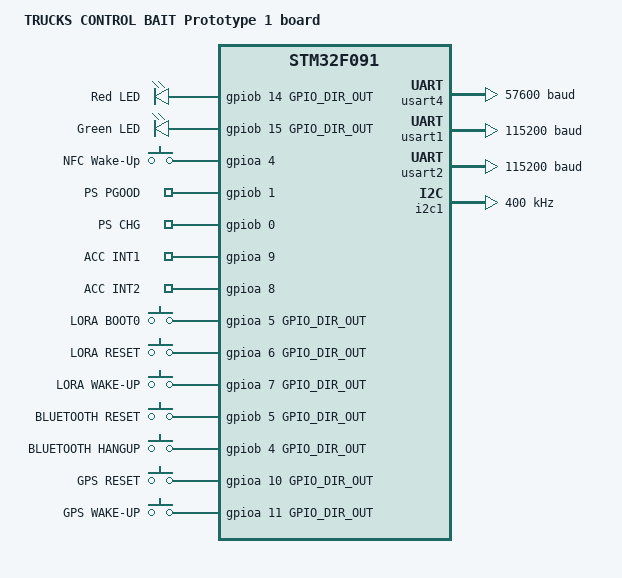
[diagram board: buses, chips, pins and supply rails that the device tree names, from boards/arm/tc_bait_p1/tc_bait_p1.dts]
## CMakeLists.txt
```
# SPDX-License-Identifier: Apache-2.0

cmake_minimum_required(VERSION 3.13.1)

set(BOARD_ROOT ${CMAKE_SOURCE_DIR})

include($ENV{ZEPHYR_BASE}/cmake/app/boilerplate.cmake NO_POLICY_SCOPE)
project(Bait)

list(APPEND HEADERS
    "${PROJECT_BINARY_DIR}/include/generated"
    "${PROJECT_BINARY_DIR}/zephyr/include/generated"
    "${PROJECT_SOURCE_DIR}/include"
    "${PROJECT_SOURCE_DIR}/include/st"
    "${PROJECT_SOURCE_DIR}/boards/arm/tc_bait_p2/support/bait"
    )

list(APPEND SOURCES
    "${PROJECT_SOURCE_DIR}/src/main.c"
    "${PROJECT_SOURCE_DIR}/src/uart_driver.c"
    "${PROJECT_SOURCE_DIR}/boards/arm/tc_bait_p2/support/bait/Src/usart.c"
    )

include_directories(${HEADERS})
target_sources(app PRIVATE ${SOURCES})
```

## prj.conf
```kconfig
# Enable PRINTK 
CONFIG_PRINTK=y
CONFIG_STDOUT_CONSOLE=y
CONFIG_UART_CONSOLE=y

# Enable SHELL
CONFIG_SHELL=n

# Enable SERIAL
CONFIG_SERIAL=y
CONFIG_SERIAL_HAS_DRIVER=y
CONFIG_SERIAL_SUPPORT_INTERRUPT=y
CONFIG_UART_STM32=y
CONFIG_UART_INTERRUPT_DRIVEN=y

# Enable COUNTER
CONFIG_COUNTER=y

CONFIG_MAIN_THREAD_PRIORITY=3
```

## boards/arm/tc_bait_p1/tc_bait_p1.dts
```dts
/*
 * Copyright (c) 2018 Trucks Control
 *
 */

/dts-v1/;
#include <st/f0/stm32f091Xc.dtsi>

/ {
	soc {
		usart3: serial@40004800 {
			compatible = "st,stm32-usart", "st,stm32-uart";
			reg = <0x40004800 0x400>;
			clocks = <&rcc STM32_CLOCK_BUS_APB1 0x00040000>;
			interrupts = <29 0>;
			status = "disabled";
			label = "UART_3";
		};
		usart4: serial@40004C00 {
			compatible = "st,stm32-usart", "st,stm32-uart";
			reg = <0x40004C00 0x400>;
			clocks = <&rcc STM32_CLOCK_BUS_APB1 0x00080000>;
			interrupts = <29 0>;
			status = "disabled";
			label = "UART_4";
		};
		pinctrl: pin-controller@48000000 {
			usart3_pins_a: usart3_a {
				rx_tx {
					rx = <STM32_PIN_PB11 (STM32_PINMUX_ALT_FUNC_4 | STM32_PUPDR_NO_PULL)>;
					tx = <STM32_PIN_PB10 (STM32_PINMUX_ALT_FUNC_4 | STM32_PUSHPULL_PULLUP)>;
				};
			};
			usart4_pins_a: usart4_a {
				rx_tx {
					rx = <STM32_PIN_PA1 (STM32_PINMUX_ALT_FUNC_4 | STM32_PUPDR_NO_PULL)>;
					tx = <STM32_PIN_PA0 (STM32_PINMUX_ALT_FUNC_4 | STM32_PUSHPULL_PULLUP)>;
				};
			};
		};
	};
};

/ {
	model = "TRUCKS CONTROL BAIT Prototype 1 board";
	compatible = "st,stm32f091";

	chosen {
		zephyr,console = &usart2;
		zephyr,shell-uart = &usart2;
		zephyr,sram = &sram0;
		zephyr,flash = &flash0;
	};

	leds {
		compatible = "gpio-leds";
		red_led: led_1 {
			gpios = <&gpiob 14 GPIO_DIR_OUT>;
			label = "Red LED";
		};
		green_led: led_2 {
			gpios = <&gpiob 15 GPIO_DIR_OUT>;
			label = "Green LED";
		};
	};

	gpio_keys {
		compatible = "gpio-keys";
		// Entradas - Inicio
		nfc_gpo: nfc1 {
			label = "NFC Wake-Up";
			gpios = <&gpioa 4 (GPIO_DIR_IN | GPIO_INT | GPIO_PUD_PULL_UP | GPIO_INT_EDGE | GPIO_INT_DOUBLE_EDGE | GPIO_INT_DEBOUNCE)>;
		};
		ps_pgood: ps1 {
			label = "PS PGOOD";
			gpios = <&gpiob 1 (GPIO_DIR_IN | GPIO_INT | GPIO_PUD_PULL_UP | GPIO_INT_EDGE | GPIO_INT_DOUBLE_EDGE | GPIO_INT_DEBOUNCE)>;
		};
		ps_chg: ps2 {
			label = "PS CHG";
			gpios = <&gpiob 0 (GPIO_DIR_IN | GPIO_INT | GPIO_PUD_PULL_UP | GPIO_INT_EDGE | GPIO_INT_DOUBLE_EDGE | GPIO_INT_DEBOUNCE)>;
		};
		acc_int1: acc1 {
			label = "ACC INT1";
			gpios = <&gpioa 9 (GPIO_DIR_IN | GPIO_INT | GPIO_PUD_PULL_UP | GPIO_INT_EDGE | GPIO_INT_DOUBLE_EDGE | GPIO_INT_DEBOUNCE)>;
		};
		acc_int2: acc2 {
			label = "ACC INT2";
			gpios = <&gpioa 8 (GPIO_DIR_IN | GPIO_INT | GPIO_PUD_PULL_UP | GPIO_INT_EDGE | GPIO_INT_DOUBLE_EDGE | GPIO_INT_DEBOUNCE)>;
		};
		// Entradas - Fim
		// Saidas - Inicio
		lora_boot0: lora1 {
			label = "LORA BOOT0";
			gpios = <&gpioa 5 GPIO_DIR_OUT>;
		};
		lora_reset: lora2 {
			label = "LORA RESET";
			gpios = <&gpioa 6 GPIO_DIR_OUT>;
		};
		lora_wkup1: lora3 {
			label = "LORA WAKE-UP";
			gpios = <&gpioa 7 GPIO_DIR_OUT>;
		};
		bt_reset: bt1 {
			label = "BLUETOOTH RESET";
			gpios = <&gpiob 5 GPIO_DIR_OUT>;
		};
		bt_hangup: bt2 {
			label = "BLUETOOTH HANGUP";
			gpios = <&gpiob 4 GPIO_DIR_OUT>;
		};
		gps_reset: gps1 {
			label = "GPS RESET";
			gpios = <&gpioa 10 GPIO_DIR_OUT>;
		};
		gps_wakeup: gps2 {
			label = "GPS WAKE-UP";
			gpios = <&gpioa 11 GPIO_DIR_OUT>;
		};
		// Saidas - Fim
	};

	aliases {
		led-red = &red_led;
		led-green = &green_led;
		nfc-gpo = &nfc_gpo;
		ps-pgood = &ps_pgood;
		ps-chg = &ps_chg;
		acc-int1 = &acc_int1;
		acc-int2 = &acc_int2;
		lora-boot0 = &lora_boot0;
		lora-reset = &lora_reset;
		lora-wakeup = &lora_wkup1;
		bt-reset = &bt_reset;
		bt-hangup = &bt_hangup;
		gps-reset = &gps_reset;
		gps-wakeup = &gps_wakeup;
	};
};

// BLUETOOTH
&usart1 {
	current-speed = <115200>;
	pinctrl-0 = <&usart1_pins_a>;
	pinctrl-names = "default";
	status = "ok";
};

// CONSOLE
&usart2 {
	current-speed = <115200>;
	pinctrl-0 = <&usart2_pins_a>;
	pinctrl-names = "default";
	status = "ok";
};

// GPS
// &usart3 {
// 	current-speed = <115200>;
// 	pinctrl-0 = <&usart3_pins_a>;
// 	pinctrl-names = "default";
// 	status = "ok";
// };

// LORA
&usart4 {
	current-speed = <57600>;
	pinctrl-0 = <&usart4_pins_a>;
	pinctrl-names = "default";
	status = "ok";
};

&i2c1 {
	status = "ok";
	clock-frequency = <I2C_BITRATE_FAST>;
};
```

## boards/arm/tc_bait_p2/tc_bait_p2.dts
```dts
/*
 * Copyright (c) 2018 Trucks Control
 *
 */

/dts-v1/;
#include <st/f0/stm32f091Xc.dtsi>

/ {
	soc {
		usart3: serial@40004800 {
			compatible = "st,stm32-usart", "st,stm32-uart";
			reg = <0x40004800 0x400>;
			clocks = <&rcc STM32_CLOCK_BUS_APB1 0x00040000>;
			interrupts = <29 0>;
			status = "disabled";
			label = "UART_3";
		};
		usart4: serial@40004c00 {
			compatible = "st,stm32-usart", "st,stm32-uart";
			reg = <0x40004c00 0x400>;
			clocks = <&rcc STM32_CLOCK_BUS_APB1 0x00080000>;
			interrupts = <29 0>;
			status = "disabled";
			label = "UART_4";
		};
		pinctrl: pin-controller@48000000 {
			usart3_pins_a: usart3_a {
				rx_tx {
					rx = <STM32_PIN_PB11 (STM32_PINMUX_ALT_FUNC_4 | STM32_PUPDR_NO_PULL)>;
					tx = <STM32_PIN_PB10 (STM32_PINMUX_ALT_FUNC_4 | STM32_PUSHPULL_PULLUP)>;
				};
			};
			usart4_pins_a: usart4_a {
				rx_tx {
					rx = <STM32_PIN_PA1 (STM32_PINMUX_ALT_FUNC_4 | STM32_PUPDR_NO_PULL)>;
					tx = <STM32_PIN_PA0 (STM32_PINMUX_ALT_FUNC_4 | STM32_PUSHPULL_PULLUP)>;
				};
			};
		};
		rtc: rtc@40002800 {
			compatible = "st,stm32-rtc";
			reg = <0x40002800 0x400>;
			interrupts = <2 0>;
			clocks = <&rcc STM32_CLOCK_BUS_APB1 0x10000000>;
			prescaler = <32768>;
			status = "disabled";
			label = "RTC_0";
		};
	};
};

/ {
	model = "TRUCKS CONTROL BAIT Prototype 2 board";
	compatible = "st,stm32f091";

	chosen {
		zephyr,console = &usart2;
		zephyr,shell-uart = &usart2;
		zephyr,uart-mcumgr = &usart2;
		zephyr,sram = &sram0;
		zephyr,flash = &flash0;
		// zephyr,code-partition = &primary_slot_partition;
	};

	leds {
		compatible = "gpio-leds";
		led_1: red_led {
			gpios = <&gpiob 14 GPIO_DIR_OUT>;
			label = "Red LED";
		};
		led_2: green_led {
			gpios = <&gpiob 15 GPIO_DIR_OUT>;
			label = "Green LED";
		};
	};

	gpio_keys {
		compatible = "gpio-keys";
		// Entradas - Inicio
		nfc1: nfc_gpo {
			label = "NFC Wake-Up";
			gpios = <&gpioa 4 (GPIO_DIR_IN | GPIO_INT | GPIO_PUD_PULL_UP | GPIO_INT_EDGE | GPIO_INT_DOUBLE_EDGE | GPIO_INT_DEBOUNCE)>;
		};
		ps1: ps_pgood {
			label = "PS PGOOD";
			gpios = <&gpiob 1 (GPIO_DIR_IN | GPIO_INT | GPIO_PUD_PULL_UP | GPIO_INT_EDGE | GPIO_INT_DOUBLE_EDGE | GPIO_INT_DEBOUNCE)>;
		};
		ps2: ps_chg {
			label = "PS CHG";
			gpios = <&gpiob 0 (GPIO_DIR_IN | GPIO_INT | GPIO_PUD_PULL_UP | GPIO_INT_EDGE | GPIO_INT_DOUBLE_EDGE | GPIO_INT_DEBOUNCE)>;
		};
		acc1: acc_int1 {
			label = "ACC INT1";
			gpios = <&gpioa 9 (GPIO_DIR_IN | GPIO_INT | GPIO_PUD_PULL_UP | GPIO_INT_EDGE | GPIO_INT_DOUBLE_EDGE | GPIO_INT_DEBOUNCE)>;
		};
		acc2: acc_int2 {
			label = "ACC INT2";
			gpios = <&gpioa 8 (GPIO_DIR_IN | GPIO_INT | GPIO_PUD_PULL_UP | GPIO_INT_EDGE | GPIO_INT_DOUBLE_EDGE | GPIO_INT_DEBOUNCE)>;
		};
		// Entradas - Fim
		// Saidas - Inicio
		lora1: lora_boot0 {
			label = "LORA BOOT0";
			gpios = <&gpioa 5 GPIO_DIR_OUT>;
		};
		lora2: lora_reset {
			label = "LORA RESET";
			gpios = <&gpioa 6 GPIO_DIR_OUT>;
		};
		lora3: lora_wkup1 {
			label = "LORA WAKE-UP";
			gpios = <&gpioa 7 GPIO_DIR_OUT>;
		};
		bt1: bt_reset {
			label = "BLUETOOTH RESET";
			gpios = <&gpiob 5 GPIO_DIR_OUT>;
		};
		bt2: bt_hangup {
			label = "BLUETOOTH HANGUP";
			gpios = <&gpiob 4 GPIO_DIR_OUT>;
		};
		gps1: gps_reset {
			label = "GPS RESET";
			gpios = <&gpioa 10 GPIO_DIR_OUT>;
		};
		gps2: gps_wakeup {
			label = "GPS WAKE-UP";
			gpios = <&gpioa 11 GPIO_DIR_OUT>;
		};
		// Saidas - Fim
	};

	// aliases {
	// 	led-red = &red_led;
	// 	led-green = &green_led;
	// 	nfc-gpo = &nfc_gpo;
	// 	ps-pgood = &ps_pgood;
	// 	ps-chg = &ps_chg;
	// 	acc-int1 = &acc_int1;
	// 	acc-int2 = &acc_int2;
	// 	lora-boot0 = &lora_boot0;
	// 	lora-reset = &lora_reset;
	// 	lora-wakeup = &lora_wkup1;
	// 	bt-reset = &bt_reset;
	// 	bt-hangup = &bt_hangup;
	// 	gps-reset = &gps_reset;
	// 	gps-wakeup = &gps_wakeup;
	// };
};

// BLUETOOTH
&usart1 {
	current-speed = <115200>;
	pinctrl-0 = <&usart1_pins_a>;
	pinctrl-names = "default";
	status = "ok";
};

// CONSOLE
&usart2 {
	current-speed = <115200>;
	pinctrl-0 = <&usart2_pins_a>;
	pinctrl-names = "default";
	status = "ok";
};

// GPS
// &usart3 {
// 	current-speed = <115200>;
// 	pinctrl-0 = <&usart3_pins_a>;
// 	pinctrl-names = "default";
// 	status = "ok";
// };

// LORA
&usart4 {
	current-speed = <9600>;
	pinctrl-0 = <&usart4_pins_a>;
	pinctrl-names = "default";
	status = "ok";
};

&i2c1 {
	status = "ok";
	clock-frequency = <I2C_BITRATE_FAST>;
};

&rtc {
	status = "ok";
}; 

// &flash0 {
// 	/*
// 	 * For more information, see:
// 	 * http://docs.zephyrproject.org/latest/devices/dts/flash_partitions.html
// 	 */
// 	partitions {
// 		compatible = "fixed-partitions";
// 		#address-cells = <1>;
// 		#size-cells = <1>;

// 		boot_partition: partition@0 {
// 			label = "mcuboot";
// 			reg = <0x00000000 0xc000>; // 12 sectors 48KB
// 		};
// 		primary_slot_partition: partition@c000 {
// 			label = "image-0";
// 			reg = <0x0000c000 0x14000>; // 20 sectors 80KB
// 		};
// 		secondary_slot_partition: partition@20000 {
// 			label = "image-1";
// 			reg = <0x00020000 0x14000>; // 20 sectors 80KB
// 		};
// 		scratch_partition: partition@34000 {
// 			label = "image-scratch";
// 			reg = <0x0034000 0x4000>; // 4 sectors 16KB
// 		};
// 		storage_partition: partition@38000 {
// 			label = "storage";
// 			reg = <0x0038000 0x8000>; // 8 sectors 32KB
// 			// reg = <0x003c000 0x1000>; // 6 sectors 24KB
// 		};
// 	};
// };
```

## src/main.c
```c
#include <zephyr.h>
#include <device.h>
#include <uart.h>
#include "uart_driver.h"

K_MSGQ_DEFINE(bt_uart_input_msgq, sizeof(u8_t), 512, 4);
K_MSGQ_DEFINE(bt_uart_output_msgq, sizeof(u8_t), 512, 4);

uart_t bt_uart = {0};

void main(void) {

    int err = uart_open(&bt_uart, DT_UART_SHELL_ON_DEV_NAME);
    if (err) {
        return;
    }

    err = uart_add_input(&bt_uart, &bt_uart_input_msgq);
    if (err) {
        return;
    }

    err = uart_add_output(&bt_uart, &bt_uart_output_msgq);
    if (err) {
        return ;
    }

    u8_t data = 0;

    while (1) {
        printk("haha -> %c\n", data);
        k_sleep(K_MSEC(100));
    }
}
```

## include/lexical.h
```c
#ifndef _LEXICAL_H_
#define _LEXICAL_H_



#endif
```

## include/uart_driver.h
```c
#ifndef _UART_DRIVER_H_
#define _UART_DRIVER_H_

#include <zephyr.h>
#include <device.h>

typedef struct {
    struct device device;
    struct k_msgq *in;
    struct k_msgq *out;
    u8_t n;
} uart_t;


int uart_open(uart_t *uart, char *dev_label);

int uart_add_input(uart_t *uart, struct k_msgq *in);

int uart_add_output(uart_t *uart, struct k_msgq *out);


#endif
```

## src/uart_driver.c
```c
#include "uart_driver.h"
#include <uart.h>

static void uart_callback(struct device *dev)
{
    u8_t data = 0;

    if (!uart_irq_update(dev)) {
        printk("UART is not working properly\n");
        return;
    }

    uart_t *uart = CONTAINER_OF(dev, uart_t, device);

    if (uart_irq_rx_ready(dev)) {
        while(uart_fifo_read(dev, &data, 1)) {
            k_msgq_put(uart->in, &data, K_NO_WAIT);
        }
    }
}

int uart_open(uart_t *uart, char *dev_label)
{
    struct device *dev = device_get_binding(dev_label);
    uart->device = *dev;

    if (&uart->device == NULL) {
        printk("The UART device was not found.\n");
        return -EINVAL;
    }

    uart_irq_callback_set(&uart->device, uart_callback);
    uart_irq_rx_enable(&uart->device);

    return 0;
}

int uart_add_input(uart_t *uart, struct k_msgq *msgq) {
    if (uart == NULL || msgq == NULL)  {
        printk("error adding input msgq\n");
        return -EINVAL;
    }

    uart->in = msgq;

    return 0;
}

int uart_add_output(uart_t *uart, struct k_msgq *msgq) {
    if (uart == NULL || msgq == NULL)  {
        printk("error adding output msgq\n");
        return -EINVAL;
    }

    uart->out = msgq;

    return 0;
}
```
